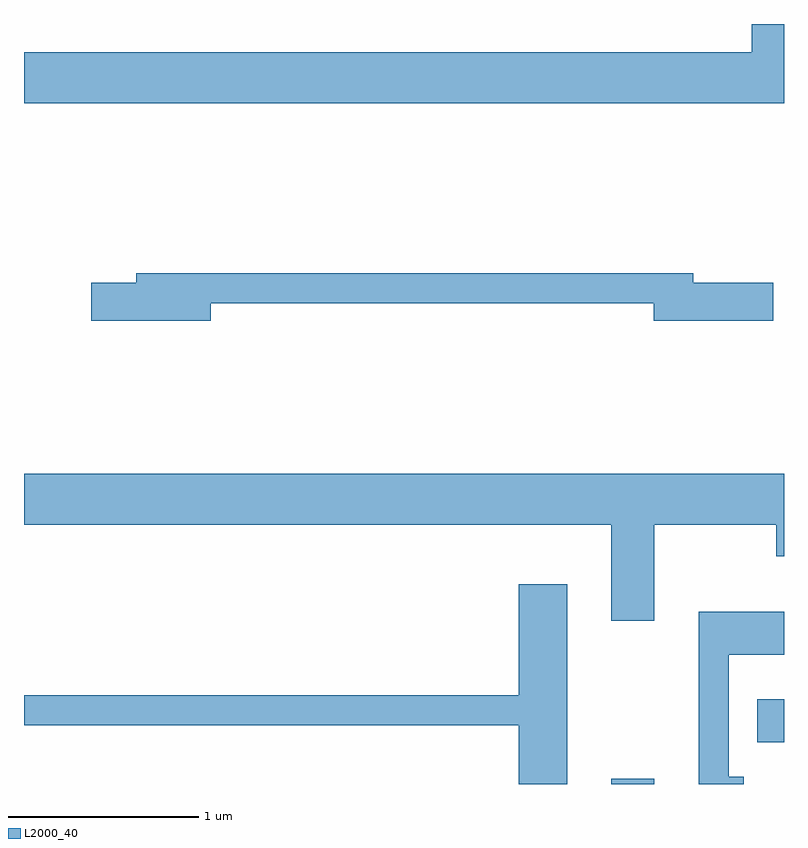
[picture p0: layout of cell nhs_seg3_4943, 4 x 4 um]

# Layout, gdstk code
import gdstk
lib = gdstk.Library(unit=1e-6, precision=1e-09)
def R(c, l, rs):  # rectangles x0, y0, x1, y1
    for r in rs: c.add(gdstk.rectangle(r[:2], r[2:], *l))
def P(c, l, *ps):  # polygons
    for p in ps: c.add(gdstk.Polygon(p, *l))
L2000_40 = (2000, 40)

nhs_seg3_4943 = lib.new_cell('nhs_seg3_4943')
R(nhs_seg3_4943, L2000_40, [(332.701,1217.892,332.929,1217.919), (333.471,1218.111,333.611,1218.339)])
P(nhs_seg3_4943, L2000_40, [(333.611,1221.892),(333.441,1221.892),(333.441,1221.744),(329.611,1221.744),(329.611,1221.476),(333.611,1221.476)],
  [(330.594,1220.421),(332.926,1220.421),(332.926,1220.331),(333.554,1220.331),(333.554,1220.529),(333.134,1220.529),(333.134,1220.579),(330.201,1220.579),(330.201,1220.529),(329.966,1220.529),(329.966,1220.331),(330.594,1220.331)],
  [(332.929,1219.256),(333.571,1219.256),(333.571,1219.091),(333.611,1219.091),(333.611,1219.524),(329.611,1219.524),(329.611,1219.256),(332.701,1219.256),(332.701,1218.751),(332.929,1218.751)],
  [(332.469,1218.944),(332.216,1218.944),(332.216,1218.359),(329.611,1218.359),(329.611,1218.201),(332.216,1218.201),(332.216,1217.892),(332.469,1217.892)],
  [(333.398,1217.929),(333.319,1217.929),(333.319,1218.571),(333.611,1218.571),(333.611,1218.799),(333.161,1218.799),(333.161,1217.892),(333.398,1217.892)])

lib.write_gds('nhs_seg3_4943.gds')
